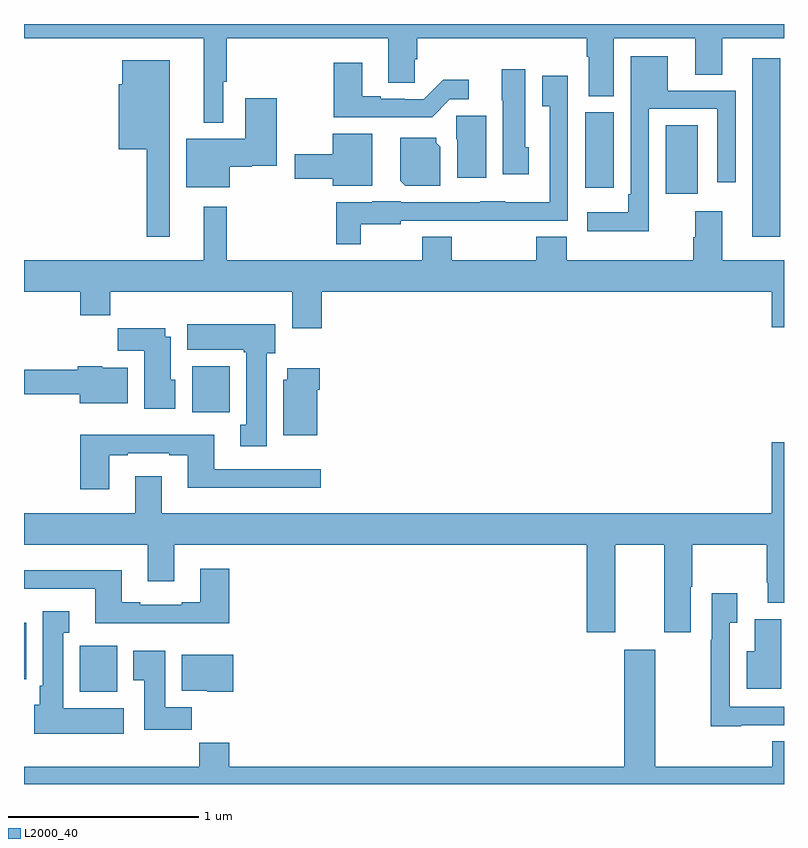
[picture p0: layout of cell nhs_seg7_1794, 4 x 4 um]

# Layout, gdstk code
import gdstk
lib = gdstk.Library(unit=1e-6, precision=1e-09)
def R(c, l, rs):  # rectangles x0, y0, x1, y1
    for r in rs: c.add(gdstk.rectangle(r[:2], r[2:], *l))
def P(c, l, *ps):  # polygons
    for p in ps: c.add(gdstk.Polygon(p, *l))
L2000_40 = (2000, 40)

nhs_seg7_1794 = lib.new_cell('nhs_seg7_1794')
R(nhs_seg7_1794, L2000_40, [(233.294,1022.486,233.491,1022.728), (233,1022.552,233.011,1022.848), (233.885,1023.956,234.082,1024.198), (236.834,1024.881,236.981,1025.821), (236.378,1025.106,236.545,1025.468), (235.955,1025.139,236.104,1025.535)])
P(nhs_seg7_1794, L2000_40, [(234.049,1025.695),(234.067,1025.695),(234.067,1025.924),(234.917,1025.924),(234.917,1025.692),(235.056,1025.692),(235.056,1025.814),(235.07,1025.814),(235.07,1025.924),(235.961,1025.924),(235.961,1025.828),(235.973,1025.828),(235.973,1025.62),(236.104,1025.62),(236.104,1025.924),(236.534,1025.924),(236.534,1025.734),(236.674,1025.734),(236.674,1025.924),(237,1025.924),(237,1026),(233,1026),(233,1025.924),(233.945,1025.924),(233.945,1025.48),(234.049,1025.48)],
  [(236.289,1025.553),(236.649,1025.553),(236.649,1025.166),(236.745,1025.166),(236.745,1025.649),(236.389,1025.649),(236.389,1025.83),(236.193,1025.83),(236.193,1025.104),(236.181,1025.104),(236.181,1025.008),(235.965,1025.008),(235.965,1024.91),(236.289,1024.91)],
  [(233.767,1025.809),(233.516,1025.809),(233.516,1025.682),(233.498,1025.682),(233.498,1025.342),(233.646,1025.342),(233.646,1024.881),(233.767,1024.881)],
  [(235.242,1025.604),(235.342,1025.604),(235.342,1025.707),(235.207,1025.707),(235.104,1025.604),(235.004,1025.604),(235.004,1025.607),(234.877,1025.607),(234.877,1025.62),(234.781,1025.62),(234.781,1025.797),(234.629,1025.797),(234.629,1025.51),(235.148,1025.51)],
  [(235.657,1025.352),(235.639,1025.352),(235.639,1025.761),(235.514,1025.761),(235.514,1025.598),(235.52,1025.598),(235.52,1025.208),(235.657,1025.208)],
  [(234.772,1024.946),(234.984,1024.946),(234.984,1024.965),(235.401,1024.965),(235.401,1024.964),(235.633,1024.964),(235.633,1024.965),(235.863,1024.965),(235.863,1025.728),(235.727,1025.728),(235.727,1025.567),(235.767,1025.567),(235.767,1025.062),(235.533,1025.062),(235.533,1025.068),(235.401,1025.068),(235.401,1025.061),(234.984,1025.061),(234.984,1025.068),(234.834,1025.068),(234.834,1025.062),(234.643,1025.062),(234.643,1024.841),(234.772,1024.841)],
  [(234.082,1025.248),(234.198,1025.248),(234.198,1025.255),(234.33,1025.255),(234.33,1025.608),(234.164,1025.608),(234.164,1025.395),(233.855,1025.395),(233.855,1025.141),(234.082,1025.141)],
  [(235.432,1025.517),(235.276,1025.517),(235.276,1025.394),(235.28,1025.394),(235.28,1025.19),(235.432,1025.19)],
  [(234.832,1025.422),(234.626,1025.422),(234.626,1025.314),(234.426,1025.314),(234.426,1025.185),(234.626,1025.185),(234.626,1025.15),(234.832,1025.15)],
  [(235.192,1025.354),(235.17,1025.376),(235.17,1025.401),(234.98,1025.401),(234.98,1025.176),(235.006,1025.15),(235.192,1025.15)],
  [(234.566,1024.592),(236.936,1024.592),(236.936,1024.404),(237,1024.404),(237,1024.756),(236.674,1024.756),(236.674,1025.014),(236.534,1025.014),(236.534,1024.877),(236.522,1024.877),(236.522,1024.756),(235.856,1024.756),(235.856,1024.88),(235.696,1024.88),(235.696,1024.756),(235.251,1024.756),(235.251,1024.88),(235.096,1024.88),(235.096,1024.756),(234.067,1024.756),(234.067,1025.038),(233.945,1025.038),(233.945,1024.756),(233,1024.756),(233,1024.592),(233.297,1024.592),(233.297,1024.468),(233.453,1024.468),(233.453,1024.592),(234.413,1024.592),(234.413,1024.398),(234.566,1024.398)],
  [(234.277,1024.266),(234.322,1024.266),(234.322,1024.42),(233.858,1024.42),(233.858,1024.286),(234.157,1024.286),(234.157,1024.273),(234.17,1024.273),(234.17,1023.89),(234.137,1023.89),(234.137,1023.777),(234.277,1023.777)],
  [(233.797,1024.128),(233.773,1024.128),(233.773,1024.354),(233.743,1024.354),(233.743,1024.399),(233.494,1024.399),(233.494,1024.28),(233.633,1024.28),(233.633,1023.974),(233.797,1023.974)],
  [(233.545,1024.192),(233.412,1024.192),(233.412,1024.198),(233.282,1024.198),(233.282,1024.18),(233,1024.18),(233,1024.051),(233.294,1024.051),(233.294,1024.004),(233.545,1024.004)],
  [(234.544,1024.076),(234.557,1024.076),(234.557,1024.189),(234.386,1024.189),(234.386,1024.128),(234.365,1024.128),(234.365,1023.836),(234.544,1023.836)],
  [(233.449,1023.729),(233.545,1023.729),(233.545,1023.741),(233.765,1023.741),(233.765,1023.729),(233.861,1023.729),(233.861,1023.56),(234.562,1023.56),(234.562,1023.657),(234.001,1023.657),(234.001,1023.838),(233.297,1023.838),(233.297,1023.552),(233.449,1023.552)],
  [(236.113,1023.26),(236.369,1023.26),(236.369,1022.799),(236.509,1022.799),(236.509,1023.038),(236.517,1023.038),(236.517,1023.26),(236.908,1023.26),(236.908,1023.058),(236.915,1023.058),(236.915,1022.953),(237,1022.953),(237,1023.799),(236.936,1023.799),(236.936,1023.424),(233.725,1023.424),(233.725,1023.619),(233.585,1023.619),(233.585,1023.424),(233,1023.424),(233,1023.26),(233.651,1023.26),(233.651,1023.066),(233.791,1023.066),(233.791,1023.26),(235.961,1023.26),(235.961,1022.799),(236.113,1022.799)],
  [(234.08,1023.133),(233.927,1023.133),(233.927,1022.956),(233.831,1022.956),(233.831,1022.943),(233.611,1022.943),(233.611,1022.956),(233.515,1022.956),(233.515,1023.124),(233,1023.124),(233,1023.027),(233.375,1023.027),(233.375,1022.846),(234.08,1022.846)],
  [(236.775,1022.31),(237,1022.31),(237,1022.406),(236.715,1022.406),(236.715,1022.848),(236.755,1022.848),(236.755,1023.004),(236.619,1023.004),(236.619,1022.759),(236.614,1022.759),(236.614,1022.303),(236.775,1022.303)],
  [(233.524,1022.398),(233.206,1022.398),(233.206,1022.795),(233.239,1022.795),(233.239,1022.908),(233.099,1022.908),(233.099,1022.518),(233.084,1022.518),(233.084,1022.418),(233.054,1022.418),(233.054,1022.264),(233.524,1022.264)],
  [(236.986,1022.868),(236.846,1022.868),(236.846,1022.698),(236.804,1022.698),(236.804,1022.501),(236.986,1022.501)],
  [(237,1022.225),(236.939,1022.225),(236.939,1022.092),(236.323,1022.092),(236.323,1022.707),(236.159,1022.707),(236.159,1022.092),(234.08,1022.092),(234.08,1022.216),(233.923,1022.216),(233.923,1022.092),(233,1022.092),(233,1022),(237,1022)],
  [(233.882,1022.404),(233.743,1022.404),(233.743,1022.701),(233.576,1022.701),(233.576,1022.545),(233.633,1022.545),(233.633,1022.286),(233.882,1022.286)],
  [(234.1,1022.68),(233.831,1022.68),(233.831,1022.492),(233.964,1022.492),(233.964,1022.486),(234.1,1022.486)])

lib.write_gds('nhs_seg7_1794.gds')
